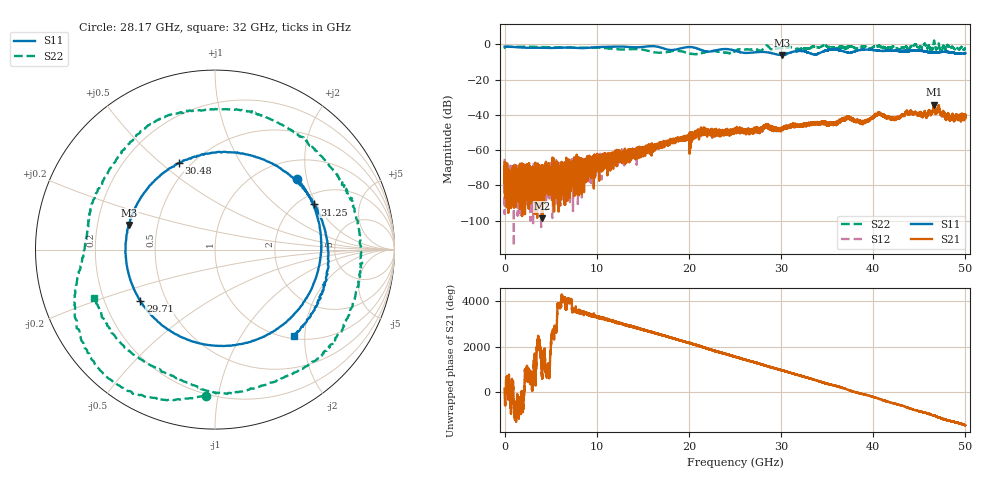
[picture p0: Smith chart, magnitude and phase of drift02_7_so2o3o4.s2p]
!Created with skrf (http://scikit-rf.org).
# Hz S RI R 50.0
!freq ReS11 ImS11 ReS21 ImS21 ReS12 ImS12 ReS22 ImS22
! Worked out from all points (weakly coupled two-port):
!   10001 points, 300 kHz to 50 GHz, reference 50 ohm
!   highest |S21| = -34.31 dB at 46.6 GHz (marker M1); lowest = -98.6 dB at 4.105 GHz (marker M2)
!   lowest |S11| = -6.1 dB at 30.09 GHz (marker M3), VSWR 2.98, Z = 17.1 + j6.25 ohm
!   |S11| at or under -10 dB: nowhere
!   |S22| runs from -5.7 to 2.2 dB; largest |S21 - S12| = 0.0033
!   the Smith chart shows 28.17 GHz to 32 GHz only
!   S11 on the Smith chart (normalised r, x): 28.17 GHz: 1.42, +1.76; 29.71 GHz: 0.36, -0.27; 30.48 GHz: 0.43, +0.58; 31.25 GHz: 2.40, +1.92; 32 GHz: 1.06, -1.76
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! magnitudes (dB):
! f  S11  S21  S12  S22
! 300 kHz  -1.3  -66.9  -64.9  -2.1
! 255.3 MHz  -1.4  -71.2  -77.6  -1.4
! 395.3 MHz  -1.4  -83.6  -75.1  -1.4
! 4.105 GHz  -2.0  -98.6  -71.1  -1.6
! 8.335 GHz  -2.2  -67.0  -72.9  -1.9
! 16.67 GHz  -1.5  -58.2  -57.6  -4.8
! 21.52 GHz  -3.6  -49.6  -50.4  -4.8
! 25 GHz  -3.7  -49.6  -49.3  -3.9
! 28.17 GHz  -4.4  -47.1  -47.4  -1.8
! 29.71 GHz  -5.9  -48.9  -48.8  -2.1
! 30.09 GHz  -6.1  -47.8  -47.5  -2.1
! 30.48 GHz  -5.6  -47.6  -46.2  -1.9
! 31.25 GHz  -4.3  -46.1  -46.3  -1.9
! 32 GHz  -3.7  -45.7  -45.7  -2.8
! 33.34 GHz  -5.5  -45.0  -44.9  -1.6
! 37.24 GHz  -4.7  -41.4  -41.5  -1.5
! 38.92 GHz  -3.0  -44.4  -43.9  -1.5
! 40.57 GHz  -3.7  -39.6  -39.5  -0.9
! 41.67 GHz  -3.6  -41.5  -41.2  -1.9
! 46.6 GHz  -4.7  -34.3  -34.6  1.7
! 48.14 GHz  -4.3  -39.4  -40.3  -0.8
! 50 GHz  -5.0  -41.9  -40.7  -2.6
